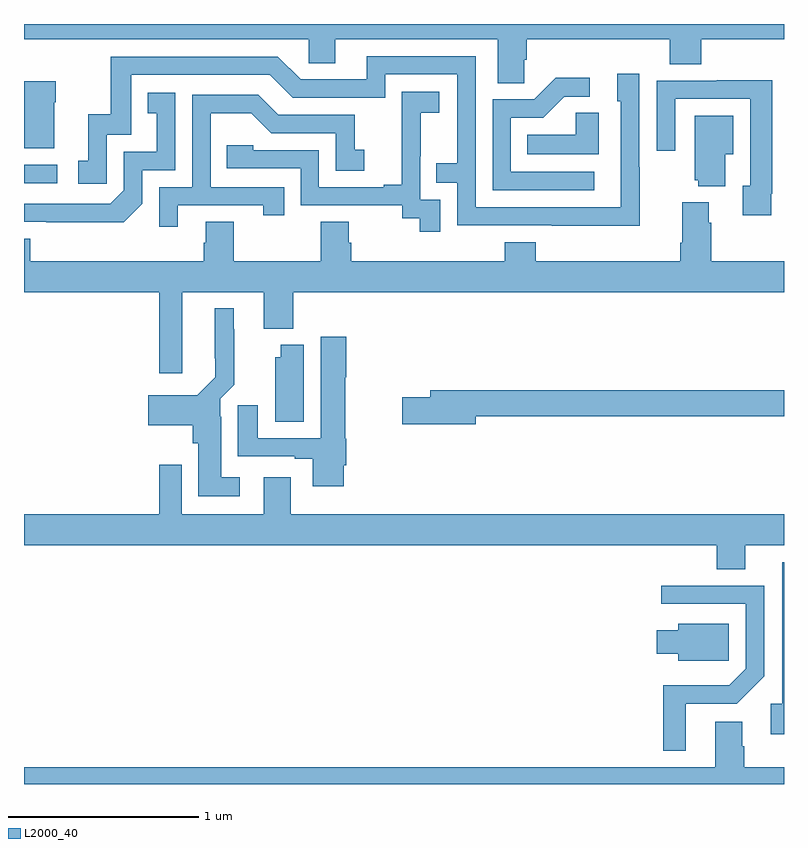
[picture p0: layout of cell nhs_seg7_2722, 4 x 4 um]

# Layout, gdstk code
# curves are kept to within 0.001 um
import gdstk
lib = gdstk.Library(unit=1e-6, precision=1e-09)
def R(c, l, rs):  # rectangles x0, y0, x1, y1
    for r in rs: c.add(gdstk.rectangle(r[:2], r[2:], *l))
def P(c, l, *ps):  # polygons
    for p in ps: c.add(gdstk.Polygon(p, *l))
L2000_40 = (2000, 40)

nhs_seg7_2722 = lib.new_cell('nhs_seg7_2722')
R(nhs_seg7_2722, L2000_40, [(287,1029.162,287.176,1029.258)])
P(nhs_seg7_2722, L2000_40, [(289.632,1029.811),(289.646,1029.811),(289.646,1029.92),(290.399,1029.92),(290.399,1029.787),(290.564,1029.787),(290.564,1029.92),(291,1029.92),(291,1030),(287,1030),(287,1029.92),(288.498,1029.92),(288.498,1029.793),(288.637,1029.793),(288.637,1029.92),(289.493,1029.92),(289.493,1029.688),(289.632,1029.688)],
  [(290.241,1029.245),(290.238,1029.245),(290.238,1029.739),(290.123,1029.739),(290.123,1029.594),(290.142,1029.594),(290.142,1029.036),(289.377,1029.036),(289.377,1029.831),(288.803,1029.831),(288.803,1029.708),(288.456,1029.708),(288.336,1029.828),(287.457,1029.828),(287.457,1029.526),(287.339,1029.526),(287.339,1029.279),(287.286,1029.279),(287.286,1029.159),(287.436,1029.159),(287.436,1029.417),(287.565,1029.417),(287.565,1029.732),(288.294,1029.732),(288.414,1029.612),(288.9,1029.612),(288.9,1029.735),(289.281,1029.735),(289.281,1029.266),(289.171,1029.266),(289.171,1029.165),(289.281,1029.165),(289.281,1028.94),(290.241,1028.939)],
  [(290.002,1029.222),(289.563,1029.222),(289.563,1029.507),(289.732,1029.507),(289.843,1029.618),(289.978,1029.618),(289.978,1029.716),(289.799,1029.716),(289.686,1029.603),(289.467,1029.603),(289.467,1029.126),(290.002,1029.126)],
  [(290.932,1029.106),(290.939,1029.106),(290.939,1029.704),(290.647,1029.704),(290.647,1029.702),(290.331,1029.702),(290.331,1029.333),(290.427,1029.333),(290.427,1029.606),(290.823,1029.606),(290.823,1029.15),(290.783,1029.15),(290.783,1028.994),(290.932,1028.994)],
  [(287.158,1029.587),(287.166,1029.587),(287.166,1029.7),(287,1029.7),(287,1029.347),(287.158,1029.347)],
  [(289.191,1029.075),(289.086,1029.075),(289.086,1029.305),(289.088,1029.305),(289.088,1029.533),(289.186,1029.533),(289.186,1029.643),(288.988,1029.643),(288.988,1029.437),(288.989,1029.437),(288.989,1029.154),(288.893,1029.154),(288.893,1029.141),(288.552,1029.141),(288.552,1029.336),(288.207,1029.336),(288.207,1029.363),(288.067,1029.363),(288.067,1029.24),(288.456,1029.24),(288.456,1029.045),(288.99,1029.045),(288.99,1028.977),(289.083,1028.977),(289.083,1028.907),(289.191,1028.907)],
  [(287.622,1029.054),(287.622,1029.231),(287.796,1029.231),(287.796,1029.637),(287.65,1029.637),(287.65,1029.531),(287.699,1029.531),(287.699,1029.327),(287.526,1029.327),(287.526,1029.126),(287.454,1029.054),(287,1029.054),(287,1028.958),(287.524,1028.957)],
  [(287.809,1029.045),(288.26,1029.045),(288.26,1028.994),(288.371,1028.994),(288.371,1029.141),(287.982,1029.141),(287.982,1029.53),(288.196,1029.53),(288.3,1029.426),(288.642,1029.426),(288.642,1029.228),(288.79,1029.228),(288.79,1029.337),(288.741,1029.337),(288.741,1029.522),(288.337,1029.522),(288.232,1029.627),(287.886,1029.627),(287.886,1029.141),(287.712,1029.141),(287.712,1028.934),(287.809,1028.934)],
  [(290.026,1029.533),(289.905,1029.533),(289.905,1029.418),(289.648,1029.418),(289.648,1029.314),(290.026,1029.314)],
  [(290.692,1029.314),(290.734,1029.314),(290.734,1029.517),(290.531,1029.517),(290.531,1029.177),(290.549,1029.177),(290.549,1029.146),(290.692,1029.146)],
  [(287.833,1028.588),(288.263,1028.588),(288.263,1028.396),(288.416,1028.396),(288.416,1028.588),(291,1028.588),(291,1028.752),(290.618,1028.752),(290.618,1028.954),(290.605,1028.954),(290.605,1029.061),(290.465,1029.061),(290.465,1028.848),(290.453,1028.848),(290.453,1028.752),(289.694,1028.752),(289.694,1028.851),(289.529,1028.851),(289.529,1028.752),(288.722,1028.752),(288.722,1028.85),(288.709,1028.85),(288.709,1028.96),(288.562,1028.96),(288.562,1028.752),(288.105,1028.752),(288.105,1028.96),(287.957,1028.96),(287.957,1028.85),(287.945,1028.85),(287.945,1028.752),(287.033,1028.752),(287.033,1028.869),(287,1028.869),(287,1028.588),(287.711,1028.588),(287.711,1028.163),(287.833,1028.163)],
  [(288.136,1027.615),(288.037,1027.615),(288.037,1027.934),(288.033,1027.934),(288.033,1028.028),(288.107,1028.102),(288.107,1028.393),(288.103,1028.393),(288.103,1028.503),(288.005,1028.503),(288.006,1028.14),(287.913,1028.047),(287.655,1028.047),(287.655,1027.889),(287.888,1027.889),(287.888,1027.794),(287.918,1027.794),(287.918,1027.514),(288.136,1027.514)],
  [(288.682,1027.678),(288.695,1027.678),(288.695,1027.818),(288.69,1027.818),(288.69,1028.14),(288.695,1028.14),(288.695,1028.353),(288.563,1028.353),(288.563,1027.821),(288.229,1027.821),(288.229,1027.993),(288.125,1027.993),(288.125,1027.725),(288.425,1027.725),(288.425,1027.713),(288.521,1027.713),(288.521,1027.566),(288.682,1027.566)],
  [(288.472,1028.311),(288.35,1028.311),(288.35,1028.247),(288.323,1028.247),(288.323,1027.906),(288.472,1027.906)],
  [(289.378,1027.936),(291,1027.936),(291,1028.072),(289.139,1028.072),(289.139,1028.036),(288.99,1028.036),(288.99,1027.894),(289.378,1027.894)],
  [(290.645,1027.129),(290.797,1027.129),(290.797,1027.256),(291,1027.256),(291,1027.42),(288.403,1027.42),(288.403,1027.615),(288.263,1027.615),(288.263,1027.42),(287.829,1027.42),(287.829,1027.68),(287.713,1027.68),(287.713,1027.42),(287,1027.42),(287,1027.256),(290.645,1027.256)],
  [(291,1027.167),(290.991,1027.167),(290.991,1026.422),(290.931,1026.422),(290.931,1026.261),(291,1026.261)],
  [(290.482,1026.423),(290.752,1026.423),(290.895,1026.566),(290.895,1027.044),(290.355,1027.044),(290.355,1026.948),(290.799,1026.948),(290.799,1026.606),(290.713,1026.52),(290.365,1026.52),(290.365,1026.174),(290.482,1026.174)],
  [(290.709,1026.844),(290.444,1026.844),(290.444,1026.808),(290.33,1026.808),(290.33,1026.686),(290.444,1026.686),(290.444,1026.65),(290.709,1026.65)],
  [(291,1026.088),(290.792,1026.088),(290.792,1026.2),(290.779,1026.2),(290.779,1026.328),(290.639,1026.328),(290.639,1026.088),(287,1026.088),(287,1026),(291,1026)])

lib.write_gds('nhs_seg7_2722.gds')
